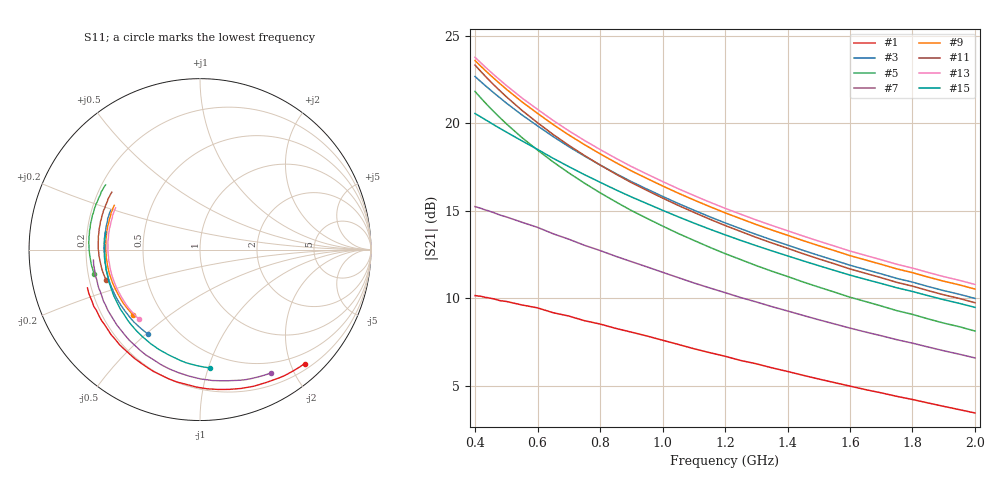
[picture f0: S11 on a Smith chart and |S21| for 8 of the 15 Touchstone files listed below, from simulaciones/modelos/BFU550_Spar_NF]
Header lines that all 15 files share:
! Noise Parameter Data File
! Device data file deembeded for feedlines and parallel
! Feed-files: PR047V01_250413_Feed1.s2p, PR047V01_250413_Feed2.s2p
! Parallel-file: PR047V01_250413_Par.s2p
# MHz S MA R 50
!  Freq-MHz  S11-mag  S11-arg  S21-mag  S21-arg  S12-mag  S12-arg  S22-mag  S22-arg
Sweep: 400 MHz to 2 GHz
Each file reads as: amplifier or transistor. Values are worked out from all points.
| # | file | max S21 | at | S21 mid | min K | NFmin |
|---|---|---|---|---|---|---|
| 1 | BFU550_03V3_001mA_NF_SP.s2p | 10.1 dB | 400 MHz | 7.1 dB at 1.1 GHz | 0.12 | 0.42 dB |
| 2 | BFU550_03V3_003mA_NF_SP.s2p | 17.8 dB | 400 MHz | 12.4 dB at 1.1 GHz | 0.18 | 0.51 dB |
| 3 | BFU550_03V3_010mA_NF_SP.s2p | 22.7 dB | 400 MHz | 15.0 dB at 1.1 GHz | 0.41 | 0.73 dB |
| 4 | BFU550_03V3_015mA_NF_SP.s2p | 23.3 dB | 400 MHz | 15.3 dB at 1.1 GHz | 0.53 | 0.85 dB |
| 5 | BFU550_03V3_035mA_NF_SP.s2p | 21.8 dB | 400 MHz | 13.3 dB at 1.1 GHz | 0.81 | 1.22 dB |
| 6 | BFU550_05V0_001mA_NF_SP.s2p | 10.2 dB | 400 MHz | 7.2 dB at 1.1 GHz | 0.12 | 0.43 dB |
| 7 | BFU550_05V0_002mA_NF_SP.s2p | 15.2 dB | 400 MHz | 10.9 dB at 1.1 GHz | 0.14 | 0.50 dB |
| 8 | BFU550_05V0_010mA_NF_SP.s2p | 22.8 dB | 400 MHz | 15.3 dB at 1.1 GHz | 0.41 | 0.74 dB |
| 9 | BFU550_05V0_015mA_NF_SP.s2p | 23.6 dB | 400 MHz | 15.6 dB at 1.1 GHz | 0.52 | 0.85 dB |
| 10 | BFU550_05V0_025mA_NF_SP.s2p | 23.9 dB | 400 MHz | 15.6 dB at 1.1 GHz | 0.67 | 1.06 dB |
| 11 | BFU550_05V0_035mA_NF_SP.s2p | 23.3 dB | 400 MHz | 14.9 dB at 1.1 GHz | 0.76 | 1.26 dB |
| 12 | BFU550_08V0_010mA_NF_SP.s2p | 23.0 dB | 400 MHz | 15.5 dB at 1.1 GHz | 0.40 | 0.75 dB |
| 13 | BFU550_08V0_015mA_NF_SP.s2p | 23.8 dB | 400 MHz | 15.9 dB at 1.1 GHz | 0.51 | 0.87 dB |
| 14 | BFU550_12V0_002mA_NF_SP.s2p | 15.2 dB | 400 MHz | 11.1 dB at 1.1 GHz | 0.14 | 0.53 dB |
| 15 | BFU550_12V0_005mA_NF_SP.s2p | 20.6 dB | 400 MHz | 14.3 dB at 1.1 GHz | 0.25 | 0.62 dB |
